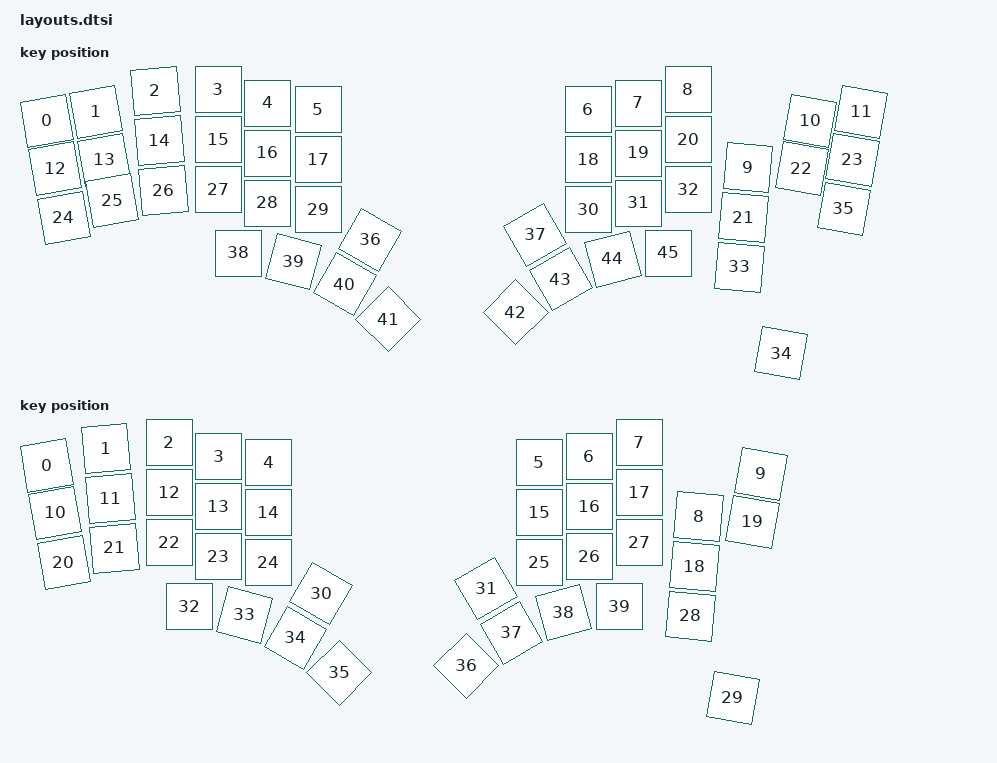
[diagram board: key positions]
#include <physical_layouts.dtsi>

/ {
    hsv_6col_layout: hsv_6col_layout {
        compatible = "zmk,physical-layout";
        display-name = "Six Columns";

        keys  //                     w   h    x    y     rot    rx    ry
            = <&key_physical_attrs 100 100    0   55 (-1000)   100    15>
            , <&key_physical_attrs 100 100  100   55 (-1000)   100    15>
            , <&key_physical_attrs 100 100  229   27  (-500)     0    15>
            , <&key_physical_attrs 100 100  360    0       0     0     0>
            , <&key_physical_attrs 100 100  459   27       0     0     0>
            , <&key_physical_attrs 100 100  560   40       0     0     0>
            , <&key_physical_attrs 100 100 1100   40       0     0     0>
            , <&key_physical_attrs 100 100 1200   27       0     0     0>
            , <&key_physical_attrs 100 100 1300    0       0     0     0>
            , <&key_physical_attrs 100 100 1430   27     500     0    15>
            , <&key_physical_attrs 100 100 1560   55    1000  1560    15>
            , <&key_physical_attrs 100 100 1660   55    1000  1760    15>
            , <&key_physical_attrs 100 100    0  152 (-1000)   100    15>
            , <&key_physical_attrs 100 100  100  152 (-1000)   100    15>
            , <&key_physical_attrs 100 100  229  127  (-500)     0    15>
            , <&key_physical_attrs 100 100  360  100       0     0     0>
            , <&key_physical_attrs 100 100  459  127       0     0     0>
            , <&key_physical_attrs 100 100  560  140       0     0     0>
            , <&key_physical_attrs 100 100 1100  140       0     0     0>
            , <&key_physical_attrs 100 100 1200  127       0     0     0>
            , <&key_physical_attrs 100 100 1300  100       0     0     0>
            , <&key_physical_attrs 100 100 1430  127     500     0    15>
            , <&key_physical_attrs 100 100 1560  152    1000  1560    15>
            , <&key_physical_attrs 100 100 1660  152    1000  1760    15>
            , <&key_physical_attrs 100 100    0  252 (-1000)   100    15>
            , <&key_physical_attrs 100 100  100  252 (-1000)     0    15>
            , <&key_physical_attrs 100 100  229  227  (-500)     0    15>
            , <&key_physical_attrs 100 100  360  200       0     0     0>
            , <&key_physical_attrs 100 100  459  227       0     0     0>
            , <&key_physical_attrs 100 100  560  240       0     0     0>
            , <&key_physical_attrs 100 100 1100  240       0     0     0>
            , <&key_physical_attrs 100 100 1200  227       0     0     0>
            , <&key_physical_attrs 100 100 1300  200       0     0     0>
            , <&key_physical_attrs 100 100 1430  227     500     0    15>
            , <&key_physical_attrs 100 100 1560  252    1000     0    15>
            , <&key_physical_attrs 100 100 1660  252    1000  1760    15>
            , <&key_physical_attrs 100 100  400  225    3000   440   805>
            , <&key_physical_attrs 100 100 1260  225 (-3000)  1300   805>
            , <&key_physical_attrs 100 100  400  327       0     0     0>
            , <&key_physical_attrs 100 100  400  327    1500   440   805>
            , <&key_physical_attrs 100 100  400  327    3000   440   805>
            , <&key_physical_attrs 100 100  400  327    4500   440   805>
            , <&key_physical_attrs 100 100 1260  327 (-4500)  1300   805>
            , <&key_physical_attrs 100 100 1260  327 (-3000)  1300   805>
            , <&key_physical_attrs 100 100 1260  327 (-1500)  1300   805>
            , <&key_physical_attrs 100 100 1260  327       0     0     0>
            ;
    };

    hsv_5col_layout: hsv_5col_layout {
        compatible = "zmk,physical-layout";
        display-name = "Five Column";

        keys  //                     w   h    x    y     rot    rx    ry
            = <&key_physical_attrs 100 100    0   55 (-1000)     0    15>
            , <&key_physical_attrs 100 100  129   27  (-500)     0    15>
            , <&key_physical_attrs 100 100  260    0       0     0     0>
            , <&key_physical_attrs 100 100  359   27       0     0     0>
            , <&key_physical_attrs 100 100  459   40       0     0     0>
            , <&key_physical_attrs 100 100 1000   40       0     0     0>
            , <&key_physical_attrs 100 100 1100   27       0     0     0>
            , <&key_physical_attrs 100 100 1200    0       0     0     0>
            , <&key_physical_attrs 100 100 1330   27     500     0    15>
            , <&key_physical_attrs 100 100 1460   55    1000  1460    15>
            , <&key_physical_attrs 100 100    0  152 (-1000)     0    15>
            , <&key_physical_attrs 100 100  129  127  (-500)     0    15>
            , <&key_physical_attrs 100 100  260  100       0     0     0>
            , <&key_physical_attrs 100 100  359  127       0     0     0>
            , <&key_physical_attrs 100 100  459  140       0     0     0>
            , <&key_physical_attrs 100 100 1000  140       0     0     0>
            , <&key_physical_attrs 100 100 1100  127       0     0     0>
            , <&key_physical_attrs 100 100 1200  100       0     0     0>
            , <&key_physical_attrs 100 100 1330  127     500     0    15>
            , <&key_physical_attrs 100 100 1460  152    1000  1460    15>
            , <&key_physical_attrs 100 100    0  252 (-1000)     0    15>
            , <&key_physical_attrs 100 100  129  227  (-500)     0    15>
            , <&key_physical_attrs 100 100  260  200       0     0     0>
            , <&key_physical_attrs 100 100  359  227       0     0     0>
            , <&key_physical_attrs 100 100  459  240       0     0     0>
            , <&key_physical_attrs 100 100 1000  240       0     0     0>
            , <&key_physical_attrs 100 100 1100  227       0     0     0>
            , <&key_physical_attrs 100 100 1200  200       0     0     0>
            , <&key_physical_attrs 100 100 1330  227     500     0    15>
            , <&key_physical_attrs 100 100 1460  252    1000     0    15>
            , <&key_physical_attrs 100 100  300  225    3000   340   805>
            , <&key_physical_attrs 100 100 1160  225 (-3000)  1200   805>
            , <&key_physical_attrs 100 100  300  327       0     0     0>
            , <&key_physical_attrs 100 100  300  327    1500   340   805>
            , <&key_physical_attrs 100 100  300  327    3000   340   805>
            , <&key_physical_attrs 100 100  300  327    4500   340   805>
            , <&key_physical_attrs 100 100 1160  327 (-4500)  1200   805>
            , <&key_physical_attrs 100 100 1160  327 (-3000)  1200   805>
            , <&key_physical_attrs 100 100 1160  327 (-1500)  1200   805>
            , <&key_physical_attrs 100 100 1160  327       0     0     0>
            ;
    };

    hsv_position_map {
        compatible = "zmk,physical-layout-position-map";

        complete;

        twelve {
            physical-layout = <&hsv_6col_layout>;
            positions
                = < 0  1  2  3  4  5     6  7  8  9 10 11>
                , <12 13 14 15 16 17    18 19 20 21 22 23>
                , <24 25 26 27 28 29    30 31 32 33 34 35>
                , <               36    37               >
                , <      38 39 40 41    42 43 44 45      >;
        };

        ten {
            physical-layout = <&hsv_5col_layout>;
            positions
                = <40  0  1  2  3  4     5  6  7  8  9 41>
                , <42 10 11 12 13 14    15 16 17 18 19 43>
                , <44 20 21 22 23 24    25 26 27 28 29 45>
                , <               30    31               >
                , <      32 33 34 35    36 37 38 39      >;
        };
    };
};
